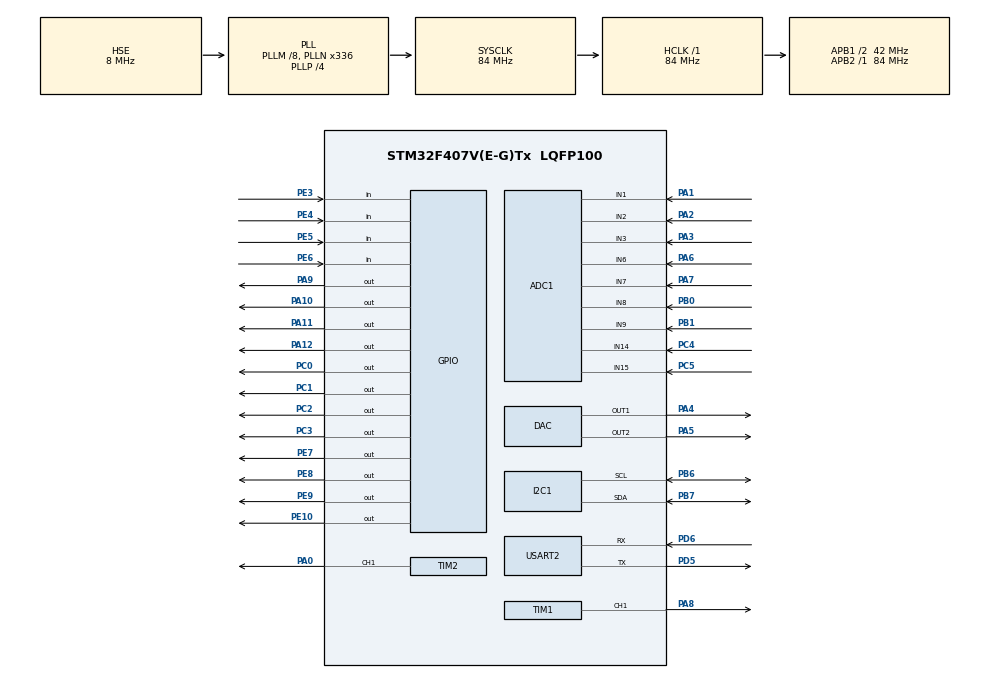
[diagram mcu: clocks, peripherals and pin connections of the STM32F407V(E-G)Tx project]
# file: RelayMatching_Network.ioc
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ADC1.Channel-10\#ChannelRegularConversion=ADC_CHANNEL_2
ADC1.Channel-7\#ChannelRegularConversion=ADC_CHANNEL_1
ADC1.Channel-8\#ChannelInjectedConversion=ADC_CHANNEL_2
ADC1.Channel-9\#ChannelInjectedConversion=ADC_CHANNEL_2
ADC1.ContinuousConvMode=ENABLE
ADC1.DMAContinuousRequests=ENABLE
ADC1.EOCSelection=ADC_EOC_SEQ_CONV
ADC1.EnableAnalogWatchDog=true
ADC1.ITMode=ENABLE
ADC1.InjNumberOfConversion=2
ADC1.InjectedOffset-8\#ChannelInjectedConversion=0
ADC1.InjectedOffset-9\#ChannelInjectedConversion=0
ADC1.InjectedRank-8\#ChannelInjectedConversion=1
ADC1.InjectedRank-9\#ChannelInjectedConversion=2
ADC1.NbrOfConversion=2
ADC1.NbrOfConversionFlag=1
ADC1.Rank-10\#ChannelRegularConversion=2
ADC1.Rank-7\#ChannelRegularConversion=1
ADC1.SamplingTime-10\#ChannelRegularConversion=ADC_SAMPLETIME_480CYCLES
ADC1.SamplingTime-7\#ChannelRegularConversion=ADC_SAMPLETIME_480CYCLES
ADC1.SamplingTime-8\#ChannelInjectedConversion=ADC_SAMPLETIME_3CYCLES
ADC1.SamplingTime-9\#ChannelInjectedConversion=ADC_SAMPLETIME_3CYCLES
ADC1.WatchdogChannel=ADC_CHANNEL_1
ADC1.master=1
DAC.DAC_Trigger=DAC_TRIGGER_T6_TRGO
Dma.ADC1.0.Direction=DMA_PERIPH_TO_MEMORY
Dma.ADC1.0.FIFOMode=DMA_FIFOMODE_DISABLE
Dma.ADC1.0.Instance=DMA2_Stream0
Dma.ADC1.0.MemDataAlignment=DMA_MDATAALIGN_HALFWORD
Dma.ADC1.0.MemInc=DMA_MINC_ENABLE
Dma.ADC1.0.Mode=DMA_CIRCULAR
Dma.ADC1.0.PeriphDataAlignment=DMA_PDATAALIGN_HALFWORD
Dma.ADC1.0.PeriphInc=DMA_PINC_DISABLE
Dma.ADC1.0.Priority=DMA_PRIORITY_LOW
Dma.DAC1.1.Direction=DMA_MEMORY_TO_PERIPH
Dma.DAC1.1.FIFOMode=DMA_FIFOMODE_DISABLE
Dma.DAC1.1.Instance=DMA1_Stream5
Dma.DAC1.1.MemDataAlignment=DMA_MDATAALIGN_HALFWORD
Dma.DAC1.1.MemInc=DMA_MINC_ENABLE
Dma.DAC1.1.Mode=DMA_CIRCULAR
Dma.DAC1.1.PeriphDataAlignment=DMA_PDATAALIGN_HALFWORD
Dma.DAC1.1.PeriphInc=DMA_PINC_DISABLE
Dma.DAC1.1.Priority=DMA_PRIORITY_LOW
Dma.Request0=ADC1
Dma.Request1=DAC1
Mcu.Family=STM32F4
Mcu.Name=STM32F407V(E-G)Tx
Mcu.Package=LQFP100
NVIC.ADC_IRQn=true\:0\:0\:false\:false\:true\:true\:true\:true
NVIC.DMA1_Stream5_IRQn=true\:0\:0\:false\:false\:true\:false\:true\:true
NVIC.DMA2_Stream0_IRQn=true\:0\:0\:false\:false\:true\:false\:true\:true
NVIC.PriorityGroup=NVIC_PRIORITYGROUP_0
NVIC.TIM1_UP_TIM10_IRQn=true\:0\:0\:false\:false\:true\:true\:true\:true
NVIC.TIM2_IRQn=true\:0\:0\:false\:false\:true\:true\:true\:true
NVIC.USART2_IRQn=true\:0\:0\:false\:false\:true\:true\:true\:true
PA0-WKUP.Signal=S_TIM2_CH1_ETR
PA1.Signal=ADCx_IN1
PA10.Signal=GPIO_Output
PA11.Signal=GPIO_Output
PA12.Signal=GPIO_Output
PA13.Mode=Serial_Wire
PA13.Signal=SYS_JTMS-SWDIO
PA14.Mode=Serial_Wire
PA14.Signal=SYS_JTCK-SWCLK
PA2.Signal=ADCx_IN2
PA3.Signal=ADCx_IN3
PA4.Signal=COMP_DAC1_group
PA5.Signal=COMP_DAC2_group
PA6.Signal=ADCx_IN6
PA7.Signal=ADCx_IN7
PA8.Signal=S_TIM1_CH1
PA9.Signal=GPIO_Output
PB0.Signal=ADCx_IN8
PB1.Signal=ADCx_IN9
PB6.Mode=I2C
PB6.Signal=I2C1_SCL
PB7.Mode=I2C
PB7.Signal=I2C1_SDA
PC0.Signal=GPIO_Output
PC1.Signal=GPIO_Output
PC2.Signal=GPIO_Output
PC3.Signal=GPIO_Output
PC4.Signal=ADCx_IN14
PC5.Signal=ADCx_IN15
PD5.Mode=Asynchronous
PD5.Signal=USART2_TX
PD6.Mode=Asynchronous
PD6.Signal=USART2_RX
PE10.Signal=GPIO_Output
PE3.Signal=GPIO_Input
PE4.Signal=GPIO_Input
PE5.Signal=GPIO_Input
PE6.Signal=GPIO_Input
PE7.Signal=GPIO_Output
PE8.Signal=GPIO_Output
PE9.Signal=GPIO_Output
PH0-OSC_IN.Mode=HSE-External-Oscillator
PH0-OSC_IN.Signal=RCC_OSC_IN
PH1-OSC_OUT.Mode=HSE-External-Oscillator
PH1-OSC_OUT.Signal=RCC_OSC_OUT
ProjectManager.HeapSize=0x200
ProjectManager.StackSize=0x400
ProjectManager.TargetToolchain=STM32CubeIDE
RCC.48MHZClocksFreq_Value=48000000
RCC.AHBFreq_Value=84000000
RCC.APB1CLKDivider=RCC_HCLK_DIV2
RCC.APB1Freq_Value=42000000
RCC.APB1TimFreq_Value=84000000
RCC.APB2Freq_Value=84000000
RCC.APB2TimFreq_Value=84000000
RCC.CortexFreq_Value=84000000
RCC.HCLKFreq_Value=84000000
RCC.HSE_VALUE=8000000
RCC.HSI_VALUE=16000000
RCC.LSE_VALUE=32768
RCC.PLLM=8
RCC.PLLN=336
RCC.PLLP=RCC_PLLP_DIV4
RCC.PLLQ=7
RCC.PLLSourceVirtual=RCC_PLLSOURCE_HSE
RCC.SYSCLKFreq_VALUE=84000000
RCC.SYSCLKSource=RCC_SYSCLKSOURCE_PLLCLK
RCC.VCOOutputFreq_Value=336000000
SH.ADCx_IN1.0=ADC1_IN1,IN1
SH.ADCx_IN14.0=ADC1_IN14,IN14
SH.ADCx_IN15.0=ADC1_IN15,IN15
SH.ADCx_IN2.0=ADC1_IN2,IN2
SH.ADCx_IN3.0=ADC1_IN3,IN3
SH.ADCx_IN6.0=ADC1_IN6,IN6
SH.ADCx_IN7.0=ADC1_IN7,IN7
SH.ADCx_IN8.0=ADC1_IN8,IN8
SH.ADCx_IN9.0=ADC1_IN9,IN9
SH.COMP_DAC1_group.0=DAC_OUT1,DAC_OUT1
SH.COMP_DAC2_group.0=DAC_OUT2,DAC_OUT2
SH.S_TIM1_CH1.0=TIM1_CH1,PWM Generation1 CH1
SH.S_TIM2_CH1_ETR.0=TIM2_CH1,PWM Generation1 CH1
TIM1.Channel-PWM\ Generation1\ CH1=TIM_CHANNEL_1
TIM1.Period=199
TIM1.Prescaler=69
TIM2.Channel-PWM\ Generation1\ CH1=TIM_CHANNEL_1
TIM2.Period=199
TIM2.Prescaler=69
TIM6.Period=65
TIM6.Prescaler=0
TIM6.TIM_MasterOutputTrigger=TIM_TRGO_UPDATE
USART2.VirtualMode=VM_ASYNC
VP_TIM1_VS_ClockSourceINT.Mode=Internal
VP_TIM2_VS_ClockSourceINT.Mode=Internal
VP_TIM6_VS_ClockSourceINT.Mode=Enable_Timer
board=STM32F407G-DISC1

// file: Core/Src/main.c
/* USER CODE BEGIN Header */
/**
 ******************************************************************************
 * @file           : main.c
 * @brief          : Main program body
 ******************************************************************************
 * @attention
 *
 * Copyright (c) 2025 STMicroelectronics.
 * All rights reserved.
 *
 * This software is licensed under terms that can be found in the LICENSE file
 * in the root directory of this software component.
 * If no LICENSE file comes with this software, it is provided AS-IS.
 *
 ******************************************************************************
 */
/* USER CODE END Header */
#include "main.h"

/* USER CODE BEGIN Includes */
#include "test.h"

#include <stdio.h>
#include <string.h>
#include "uart_handler.h"
#include <math.h>
#include "i2ccomm.h"
#include "sine_generator.h"
#include "motor_control.h"
#include "test.h"
#include "relay_driver.h"
/* USER CODE END Includes */

ADC_HandleTypeDef hadc1;
DMA_HandleTypeDef hdma_adc1;

DAC_HandleTypeDef hdac;
DMA_HandleTypeDef hdma_dac1;

I2C_HandleTypeDef hi2c1;

TIM_HandleTypeDef htim1;
TIM_HandleTypeDef htim2;
TIM_HandleTypeDef htim6;

UART_HandleTypeDef huart2;

/* USER CODE BEGIN PV */
// Application state variable
volatile uint8_t g_test_is_running = 1;
/* USER CODE END PV */

void SystemClock_Config(void);
static void MX_GPIO_Init(void);
static void MX_DMA_Init(void);
static void MX_ADC1_Init(void);
static void MX_TIM2_Init(void);
static void MX_USART2_UART_Init(void);
static void MX_I2C1_Init(void);
static void MX_TIM1_Init(void);
static void MX_DAC_Init(void);
static void MX_TIM6_Init(void);

int main(void)
{

  /* MCU Configuration--------------------------------------------------------*/

  /* Reset of all peripherals, Initializes the Flash interface and the Systick. */
  HAL_Init();

  /* Configure the system clock */
  SystemClock_Config();

  /* Initialize all configured peripherals */
  MX_GPIO_Init();
  MX_DMA_Init();
  MX_ADC1_Init();
  MX_TIM2_Init();
  MX_USART2_UART_Init();
  MX_I2C1_Init();
  MX_TIM1_Init();
  MX_DAC_Init();
  MX_TIM6_Init();
  /* USER CODE BEGIN 2 */
  int cmd_int = 0 ;

  float currentLog[2000];
  uint16_t logIndex = 0;

//  float voltage2=0;
//  float voltage1=0;

  uart_handler_init(&huart2);
  MotorControl_Init();
  Test_Init();

  /* USER CODE END 2 */

  /* Infinite loop */
	while (1) {

    /* USER CODE BEGIN 3 */

//		Motor_Set(MOTOR_2, 120);
//
//		HAL_Delay(1000);
//		Motor_Set(MOTOR_2,0);
//		HAL_Delay(20);
//
//		Motor_Set(MOTOR_2,-120);
//		HAL_Delay(1000);
//		Motor_Set(MOTOR_2,0);
//		HAL_Delay(20);

		printf("UART Transmission is Successfull\r\n");
		/* ================================================================
		 * SECTION 1: UART COMMAND HANDLING (PRODUCER–CONSUMER)
		 * ================================================================ */

        if (uart_command_is_ready()) {

			const char *command = (const char*) uart_get_command_buffer();

			printf("DBG_MAIN: Command received: [%s]\r\n", command);
			fflush(stdout);

			if (strcmp(command, "CMD:PERFORM_TEST") == 0) {
				g_test_is_running = 0;
			}
			else if (strcmp(command, "CMD:STOP_TEST") == 0) {
				g_test_is_running = 1;
			} else if (strcmp(command, "CMD:CONFIG1") == 0) {
				g_test_is_running = 2;
			} else if (strcmp(command, "CMD:CONFIG2") == 0) {
				g_test_is_running = 3;
			} else if (strcmp(command, "CMD:CONFIG3") == 0) {
				g_test_is_running = 4;
			} else if (strcmp(command, "CMD:CONFIG4") == 0) {
				g_test_is_running = 5;
			}
			else if (sscanf(command, "CMD:SET_M1 %d", &cmd_int) == 1)
			{
				g_test_is_running = 6;
			}
			else if (sscanf(command, "CMD:SET_M2 %d", &cmd_int) == 1)
			{
				g_test_is_running = 7;
			}
			else
			{
				printf("DBG_MAIN: Unknown command\r\n");
				fflush(stdout);
			}

			uart_reset_for_next_command();
		}

		/* ================================================================
		 * SECTION 2: STATE-BASED ACTION DISPATCH
		 * ================================================================ */
		switch (g_test_is_running) {
		case 0:
			/* Full automated test */
			Test_Run();
			break;
		case 1:
			Stop_test();
			break;

		case 2:
			/* Corner 1: MIN / MIN */
			Test_GotoCorner(1);
			break;

		case 3:
			/* Corner 2: MIN / MAX */
			Test_GotoCorner(2);
			break;

		case 4:
			/* Corner 3: MAX / MIN */
			Test_GotoCorner(3);
			break;

		case 5:
			/* Corner 4: MAX / MAX */
			Test_GotoCorner(4);
			break;

		case 6:   // CMD:SET_M1 <0..100>
		{
		    if (cmd_int < 0)   cmd_int = 0;
		    if (cmd_int > 100) cmd_int = 100;
		    MotorCalibration_t *cal = MotorControl_GetCalibration(MOTOR_1);

		    uint16_t targetADC =
		        cal->adc_min +
		        (cmd_int * (cal->adc_max - cal->adc_min)) / 100;

		    MotorControl_MoveToADC(MOTOR_1, targetADC, 10);
		    g_test_is_running = 1;   // return to idle
		    break;
		}

		case 7:   // CMD:SET_M2 <0..100>
		{
		    if (cmd_int < 0)   cmd_int = 0;
		    if (cmd_int > 100) cmd_int = 100;
		    MotorCalibration_t *cal = MotorControl_GetCalibration(MOTOR_2);
		    uint16_t targetADC =
		        cal->adc_min +
		        (cmd_int * (cal->adc_max - cal->adc_min)) / 100;

		    MotorControl_MoveToADC(MOTOR_2, targetADC, 10);
		    g_test_is_running = 1;
		    break;
		}

		default:
			/* Idle */
			break;
		}

		HAL_Delay(100);
	}
  /* USER CODE END 3 */
}

void SystemClock_Config(void)
{
  RCC_OscInitTypeDef RCC_OscInitStruct = {0};
  RCC_ClkInitTypeDef RCC_ClkInitStruct = {0};

  /** Configure the main internal regulator output voltage
  */
  __HAL_RCC_PWR_CLK_ENABLE();
  __HAL_PWR_VOLTAGESCALING_CONFIG(PWR_REGULATOR_VOLTAGE_SCALE1);

  /** Initializes the RCC Oscillators according to the specified parameters
  * in the RCC_OscInitTypeDef structure.
  */
  RCC_OscInitStruct.OscillatorType = RCC_OSCILLATORTYPE_HSE;
  RCC_OscInitStruct.HSEState = RCC_HSE_ON;
  RCC_OscInitStruct.PLL.PLLState = RCC_PLL_ON;
  RCC_OscInitStruct.PLL.PLLSource = RCC_PLLSOURCE_HSE;
  RCC_OscInitStruct.PLL.PLLM = 8;
  RCC_OscInitStruct.PLL.PLLN = 336;
  RCC_OscInitStruct.PLL.PLLP = RCC_PLLP_DIV4;
  RCC_OscInitStruct.PLL.PLLQ = 7;
  if (HAL_RCC_OscConfig(&RCC_OscInitStruct) != HAL_OK)
  {
    Error_Handler();
  }

  /** Initializes the CPU, AHB and APB buses clocks
  */
  RCC_ClkInitStruct.ClockType = RCC_CLOCKTYPE_HCLK|RCC_CLOCKTYPE_SYSCLK
                              |RCC_CLOCKTYPE_PCLK1|RCC_CLOCKTYPE_PCLK2;
  RCC_ClkInitStruct.SYSCLKSource = RCC_SYSCLKSOURCE_PLLCLK;
  RCC_ClkInitStruct.AHBCLKDivider = RCC_SYSCLK_DIV1;
  RCC_ClkInitStruct.APB1CLKDivider = RCC_HCLK_DIV2;
  RCC_ClkInitStruct.APB2CLKDivider = RCC_HCLK_DIV1;

  if (HAL_RCC_ClockConfig(&RCC_ClkInitStruct, FLASH_LATENCY_2) != HAL_OK)
  {
    Error_Handler();
  }
}

static void MX_ADC1_Init(void)
{

  ADC_AnalogWDGConfTypeDef AnalogWDGConfig = {0};
  ADC_ChannelConfTypeDef sConfig = {0};
  ADC_InjectionConfTypeDef sConfigInjected = {0};

  /** Configure the global features of the ADC (Clock, Resolution, Data Alignment and number of conversion)
  */
  hadc1.Instance = ADC1;
  hadc1.Init.ClockPrescaler = ADC_CLOCK_SYNC_PCLK_DIV4;
  hadc1.Init.Resolution = ADC_RESOLUTION_12B;
  hadc1.Init.ScanConvMode = ENABLE;
  hadc1.Init.ContinuousConvMode = ENABLE;
  hadc1.Init.DiscontinuousConvMode = DISABLE;
  hadc1.Init.ExternalTrigConvEdge = ADC_EXTERNALTRIGCONVEDGE_NONE;
  hadc1.Init.ExternalTrigConv = ADC_SOFTWARE_START;
  hadc1.Init.DataAlign = ADC_DATAALIGN_RIGHT;
  hadc1.Init.NbrOfConversion = 2;
  hadc1.Init.DMAContinuousRequests = ENABLE;
  hadc1.Init.EOCSelection = ADC_EOC_SEQ_CONV;
  if (HAL_ADC_Init(&hadc1) != HAL_OK)
  {
    Error_Handler();
  }

  /** Configure the analog watchdog
  */
  AnalogWDGConfig.WatchdogMode = ADC_ANALOGWATCHDOG_SINGLE_REG;
  AnalogWDGConfig.HighThreshold = 0;
  AnalogWDGConfig.LowThreshold = 0;
  AnalogWDGConfig.Channel = ADC_CHANNEL_1;
  AnalogWDGConfig.ITMode = ENABLE;
  if (HAL_ADC_AnalogWDGConfig(&hadc1, &AnalogWDGConfig) != HAL_OK)
  {
    Error_Handler();
  }

  /** Configure for the selected ADC regular channel its corresponding rank in the sequencer and its sample time.
  */
  sConfig.Channel = ADC_CHANNEL_1;
  sConfig.Rank = 1;
  sConfig.SamplingTime = ADC_SAMPLETIME_480CYCLES;
  if (HAL_ADC_ConfigChannel(&hadc1, &sConfig) != HAL_OK)
  {
    Error_Handler();
  }

  /** Configure for the selected ADC regular channel its corresponding rank in the sequencer and its sample time.
  */
  sConfig.Channel = ADC_CHANNEL_2;
  sConfig.Rank = 2;
  if (HAL_ADC_ConfigChannel(&hadc1, &sConfig) != HAL_OK)
  {
    Error_Handler();
  }

  /** Configures for the selected ADC injected channel its corresponding rank in the sequencer and its sample time
  */
  sConfigInjected.InjectedChannel = ADC_CHANNEL_2;
  sConfigInjected.InjectedRank = 1;
  sConfigInjected.InjectedNbrOfConversion = 2;
  sConfigInjected.InjectedSamplingTime = ADC_SAMPLETIME_3CYCLES;
  sConfigInjected.ExternalTrigInjecConvEdge = ADC_EXTERNALTRIGINJECCONVEDGE_NONE;
  sConfigInjected.ExternalTrigInjecConv = ADC_INJECTED_SOFTWARE_START;
  sConfigInjected.AutoInjectedConv = DISABLE;
  sConfigInjected.InjectedDiscontinuousConvMode = DISABLE;
  sConfigInjected.InjectedOffset = 0;
  if (HAL_ADCEx_InjectedConfigChannel(&hadc1, &sConfigInjected) != HAL_OK)
  {
    Error_Handler();
  }

  /** Configures for the selected ADC injected channel its corresponding rank in the sequencer and its sample time
  */
  sConfigInjected.InjectedRank = 2;
  if (HAL_ADCEx_InjectedConfigChannel(&hadc1, &sConfigInjected) != HAL_OK)
  {
    Error_Handler();
  }

}

static void MX_DAC_Init(void)
{

  DAC_ChannelConfTypeDef sConfig = {0};

  /** DAC Initialization
  */
  hdac.Instance = DAC;
  if (HAL_DAC_Init(&hdac) != HAL_OK)
  {
    Error_Handler();
  }

  /** DAC channel OUT1 config
  */
  sConfig.DAC_Trigger = DAC_TRIGGER_T6_TRGO;
  sConfig.DAC_OutputBuffer = DAC_OUTPUTBUFFER_ENABLE;
  if (HAL_DAC_ConfigChannel(&hdac, &sConfig, DAC_CHANNEL_1) != HAL_OK)
  {
    Error_Handler();
  }

  /** DAC channel OUT2 config
  */
  sConfig.DAC_Trigger = DAC_TRIGGER_NONE;
  if (HAL_DAC_ConfigChannel(&hdac, &sConfig, DAC_CHANNEL_2) != HAL_OK)
  {
    Error_Handler();
  }

}

static void MX_I2C1_Init(void)
{

  hi2c1.Instance = I2C1;
  hi2c1.Init.ClockSpeed = 100000;
  hi2c1.Init.DutyCycle = I2C_DUTYCYCLE_2;
  hi2c1.Init.OwnAddress1 = 0;
  hi2c1.Init.AddressingMode = I2C_ADDRESSINGMODE_7BIT;
  hi2c1.Init.DualAddressMode = I2C_DUALADDRESS_DISABLE;
  hi2c1.Init.OwnAddress2 = 0;
  hi2c1.Init.GeneralCallMode = I2C_GENERALCALL_DISABLE;
  hi2c1.Init.NoStretchMode = I2C_NOSTRETCH_DISABLE;
  if (HAL_I2C_Init(&hi2c1) != HAL_OK)
  {
    Error_Handler();
  }

}

static void MX_TIM1_Init(void)
{

  TIM_ClockConfigTypeDef sClockSourceConfig = {0};
  TIM_MasterConfigTypeDef sMasterConfig = {0};
  TIM_OC_InitTypeDef sConfigOC = {0};
  TIM_BreakDeadTimeConfigTypeDef sBreakDeadTimeConfig = {0};

  htim1.Instance = TIM1;
  htim1.Init.Prescaler = 69;
  htim1.Init.CounterMode = TIM_COUNTERMODE_UP;
  htim1.Init.Period = 199;
  htim1.Init.ClockDivision = TIM_CLOCKDIVISION_DIV1;
  htim1.Init.RepetitionCounter = 0;
  htim1.Init.AutoReloadPreload = TIM_AUTORELOAD_PRELOAD_DISABLE;
  if (HAL_TIM_Base_Init(&htim1) != HAL_OK)
  {
    Error_Handler();
  }
  sClockSourceConfig.ClockSource = TIM_CLOCKSOURCE_INTERNAL;
  if (HAL_TIM_ConfigClockSource(&htim1, &sClockSourceConfig) != HAL_OK)
  {
    Error_Handler();
  }
  if (HAL_TIM_PWM_Init(&htim1) != HAL_OK)
  {
    Error_Handler();
  }
  sMasterConfig.MasterOutputTrigger = TIM_TRGO_RESET;
  sMasterConfig.MasterSlaveMode = TIM_MASTERSLAVEMODE_DISABLE;
  if (HAL_TIMEx_MasterConfigSynchronization(&htim1, &sMasterConfig) != HAL_OK)
  {
    Error_Handler();
  }
  sConfigOC.OCMode = TIM_OCMODE_PWM1;
  sConfigOC.Pulse = 0;
  sConfigOC.OCPolarity = TIM_OCPOLARITY_HIGH;
  sConfigOC.OCNPolarity = TIM_OCNPOLARITY_HIGH;
  sConfigOC.OCFastMode = TIM_OCFAST_DISABLE;
  sConfigOC.OCIdleState = TIM_OCIDLESTATE_RESET;
  sConfigOC.OCNIdleState = TIM_OCNIDLESTATE_RESET;
  if (HAL_TIM_PWM_ConfigChannel(&htim1, &sConfigOC, TIM_CHANNEL_1) != HAL_OK)
  {
    Error_Handler();
  }
  sBreakDeadTimeConfig.OffStateRunMode = TIM_OSSR_DISABLE;
  sBreakDeadTimeConfig.OffStateIDLEMode = TIM_OSSI_DISABLE;
  sBreakDeadTimeConfig.LockLevel = TIM_LOCKLEVEL_OFF;
  sBreakDeadTimeConfig.DeadTime = 0;
  sBreakDeadTimeConfig.BreakState = TIM_BREAK_DISABLE;
  sBreakDeadTimeConfig.BreakPolarity = TIM_BREAKPOLARITY_HIGH;
  sBreakDeadTimeConfig.AutomaticOutput = TIM_AUTOMATICOUTPUT_DISABLE;
  if (HAL_TIMEx_ConfigBreakDeadTime(&htim1, &sBreakDeadTimeConfig) != HAL_OK)
  {
    Error_Handler();
  }
  HAL_TIM_MspPostInit(&htim1);

}

static void MX_TIM2_Init(void)
{

  TIM_ClockConfigTypeDef sClockSourceConfig = {0};
  TIM_MasterConfigTypeDef sMasterConfig = {0};
  TIM_OC_InitTypeDef sConfigOC = {0};

  htim2.Instance = TIM2;
  htim2.Init.Prescaler = 69;
  htim2.Init.CounterMode = TIM_COUNTERMODE_UP;
  htim2.Init.Period = 199;
  htim2.Init.ClockDivision = TIM_CLOCKDIVISION_DIV1;
  htim2.Init.AutoReloadPreload = TIM_AUTORELOAD_PRELOAD_DISABLE;
  if (HAL_TIM_Base_Init(&htim2) != HAL_OK)
  {
    Error_Handler();
  }
  sClockSourceConfig.ClockSource = TIM_CLOCKSOURCE_INTERNAL;
  if (HAL_TIM_ConfigClockSource(&htim2, &sClockSourceConfig) != HAL_OK)
  {
    Error_Handler();
  }
  if (HAL_TIM_PWM_Init(&htim2) != HAL_OK)
  {
    Error_Handler();
  }
  sMasterConfig.MasterOutputTrigger = TIM_TRGO_RESET;
  sMasterConfig.MasterSlaveMode = TIM_MASTERSLAVEMODE_DISABLE;
  if (HAL_TIMEx_MasterConfigSynchronization(&htim2, &sMasterConfig) != HAL_OK)
  {
    Error_Handler();
  }
  sConfigOC.OCMode = TIM_OCMODE_PWM1;
  sConfigOC.Pulse = 0;
  sConfigOC.OCPolarity = TIM_OCPOLARITY_HIGH;
  sConfigOC.OCFastMode = TIM_OCFAST_DISABLE;
  if (HAL_TIM_PWM_ConfigChannel(&htim2, &sConfigOC, TIM_CHANNEL_1) != HAL_OK)
  {
    Error_Handler();
  }
  HAL_TIM_MspPostInit(&htim2);

}

static void MX_TIM6_Init(void)
{

  TIM_MasterConfigTypeDef sMasterConfig = {0};

  htim6.Instance = TIM6;
  htim6.Init.Prescaler = 0;
  htim6.Init.CounterMode = TIM_COUNTERMODE_UP;
  htim6.Init.Period = 65;
  htim6.Init.AutoReloadPreload = TIM_AUTORELOAD_PRELOAD_DISABLE;
  if (HAL_TIM_Base_Init(&htim6) != HAL_OK)
  {
    Error_Handler();
  }
  sMasterConfig.MasterOutputTrigger = TIM_TRGO_UPDATE;
  sMasterConfig.MasterSlaveMode = TIM_MASTERSLAVEMODE_DISABLE;
  if (HAL_TIMEx_MasterConfigSynchronization(&htim6, &sMasterConfig) != HAL_OK)
  {
    Error_Handler();
  }

}

static void MX_USART2_UART_Init(void)
{

  huart2.Instance = USART2;
  huart2.Init.BaudRate = 115200;
  huart2.Init.WordLength = UART_WORDLENGTH_8B;
  huart2.Init.StopBits = UART_STOPBITS_1;
  huart2.Init.Parity = UART_PARITY_NONE;
  huart2.Init.Mode = UART_MODE_TX_RX;
  huart2.Init.HwFlowCtl = UART_HWCONTROL_NONE;
  huart2.Init.OverSampling = UART_OVERSAMPLING_16;
  if (HAL_UART_Init(&huart2) != HAL_OK)
  {
    Error_Handler();
  }

}

static void MX_DMA_Init(void)
{

  /* DMA controller clock enable */
  __HAL_RCC_DMA2_CLK_ENABLE();
  __HAL_RCC_DMA1_CLK_ENABLE();

  /* DMA interrupt init */
  /* DMA1_Stream5_IRQn interrupt configuration */
  HAL_NVIC_SetPriority(DMA1_Stream5_IRQn, 0, 0);
  HAL_NVIC_EnableIRQ(DMA1_Stream5_IRQn);
  /* DMA2_Stream0_IRQn interrupt configuration */
  HAL_NVIC_SetPriority(DMA2_Stream0_IRQn, 0, 0);
  HAL_NVIC_EnableIRQ(DMA2_Stream0_IRQn);

}

static void MX_GPIO_Init(void)
{
  GPIO_InitTypeDef GPIO_InitStruct = {0};

  /* GPIO Ports Clock Enable */
  __HAL_RCC_GPIOE_CLK_ENABLE();
  __HAL_RCC_GPIOH_CLK_ENABLE();
  __HAL_RCC_GPIOC_CLK_ENABLE();
  __HAL_RCC_GPIOA_CLK_ENABLE();
  __HAL_RCC_GPIOB_CLK_ENABLE();
  __HAL_RCC_GPIOD_CLK_ENABLE();

  /*Configure GPIO pin Output Level */
  HAL_GPIO_WritePin(GPIOC, GPIO_PIN_0|GPIO_PIN_1|GPIO_PIN_2|GPIO_PIN_3, GPIO_PIN_RESET);

  /*Configure GPIO pin Output Level */
  HAL_GPIO_WritePin(GPIOE, GPIO_PIN_7|GPIO_PIN_8|GPIO_PIN_9|GPIO_PIN_10, GPIO_PIN_RESET);

  /*Configure GPIO pin Output Level */
  HAL_GPIO_WritePin(GPIOA, GPIO_PIN_9|GPIO_PIN_10|GPIO_PIN_11|GPIO_PIN_12, GPIO_PIN_RESET);

  /*Configure GPIO pins : PE3 PE4 PE5 PE6 */
  GPIO_InitStruct.Pin = GPIO_PIN_3|GPIO_PIN_4|GPIO_PIN_5|GPIO_PIN_6;
  GPIO_InitStruct.Mode = GPIO_MODE_INPUT;
  GPIO_InitStruct.Pull = GPIO_NOPULL;
  HAL_GPIO_Init(GPIOE, &GPIO_InitStruct);

  /*Configure GPIO pins : PC0 PC1 PC2 PC3 */
  GPIO_InitStruct.Pin = GPIO_PIN_0|GPIO_PIN_1|GPIO_PIN_2|GPIO_PIN_3;
  GPIO_InitStruct.Mode = GPIO_MODE_OUTPUT_PP;
  GPIO_InitStruct.Pull = GPIO_NOPULL;
  GPIO_InitStruct.Speed = GPIO_SPEED_FREQ_LOW;
  HAL_GPIO_Init(GPIOC, &GPIO_InitStruct);

  /*Configure GPIO pins : PE7 PE8 PE9 PE10 */
  GPIO_InitStruct.Pin = GPIO_PIN_7|GPIO_PIN_8|GPIO_PIN_9|GPIO_PIN_10;
  GPIO_InitStruct.Mode = GPIO_MODE_OUTPUT_PP;
  GPIO_InitStruct.Pull = GPIO_NOPULL;
  GPIO_InitStruct.Speed = GPIO_SPEED_FREQ_LOW;
  HAL_GPIO_Init(GPIOE, &GPIO_InitStruct);

  /*Configure GPIO pins : PA9 PA10 PA11 PA12 */
  GPIO_InitStruct.Pin = GPIO_PIN_9|GPIO_PIN_10|GPIO_PIN_11|GPIO_PIN_12;
  GPIO_InitStruct.Mode = GPIO_MODE_OUTPUT_PP;
  GPIO_InitStruct.Pull = GPIO_NOPULL;
  GPIO_InitStruct.Speed = GPIO_SPEED_FREQ_LOW;
  HAL_GPIO_Init(GPIOA, &GPIO_InitStruct);

}

void Error_Handler(void)
{
	__disable_irq();
	while (1) {
	}
}
